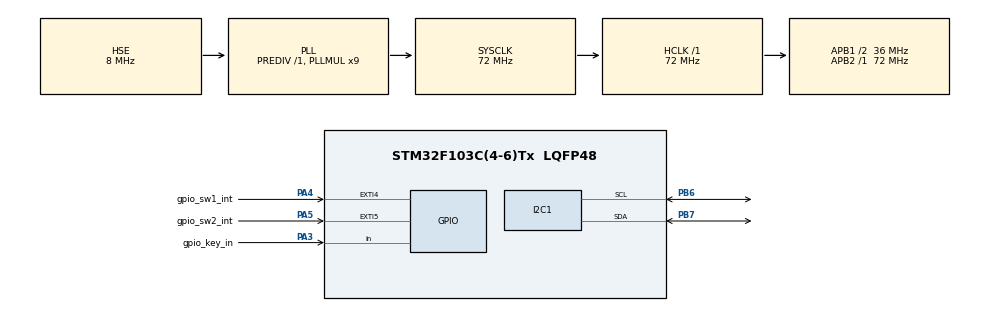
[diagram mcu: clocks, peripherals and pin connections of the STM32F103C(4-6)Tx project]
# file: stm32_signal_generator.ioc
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Mcu.Family=STM32F1
Mcu.Name=STM32F103C(4-6)Tx
Mcu.Package=LQFP48
NVIC.EXTI4_IRQn=true\:0\:0\:false\:false\:true\:true\:true\:true
NVIC.EXTI9_5_IRQn=true\:0\:0\:false\:false\:true\:true\:true\:true
NVIC.PriorityGroup=NVIC_PRIORITYGROUP_4
NVIC.TIM3_IRQn=true\:15\:0\:false\:false\:true\:false\:true\:true
NVIC.TimeBase=TIM3_IRQn
NVIC.TimeBaseIP=TIM3
PA13.Mode=Serial_Wire
PA13.Signal=SYS_JTMS-SWDIO
PA14.Mode=Serial_Wire
PA14.Signal=SYS_JTCK-SWCLK
PA3.GPIO_Label=gpio_key_in
PA3.Signal=GPIO_Input
PA4.GPIO_Label=gpio_sw1_int
PA4.GPIO_ModeDefaultEXTI=GPIO_MODE_IT_RISING_FALLING
PA4.Signal=GPXTI4
PA5.GPIO_Label=gpio_sw2_int
PA5.GPIO_ModeDefaultEXTI=GPIO_MODE_IT_RISING_FALLING
PA5.Signal=GPXTI5
PB6.Mode=I2C
PB6.Signal=I2C1_SCL
PB7.Mode=I2C
PB7.Signal=I2C1_SDA
PC14-OSC32_IN.Mode=LSE-External-Oscillator
PC14-OSC32_IN.Signal=RCC_OSC32_IN
PC15-OSC32_OUT.Mode=LSE-External-Oscillator
PC15-OSC32_OUT.Signal=RCC_OSC32_OUT
PD0-OSC_IN.Mode=HSE-External-Oscillator
PD0-OSC_IN.Signal=RCC_OSC_IN
PD1-OSC_OUT.Mode=HSE-External-Oscillator
PD1-OSC_OUT.Signal=RCC_OSC_OUT
ProjectManager.HeapSize=0x200
ProjectManager.StackSize=0x400
ProjectManager.TargetToolchain=STM32CubeIDE
RCC.AHBFreq_Value=72000000
RCC.APB1CLKDivider=RCC_HCLK_DIV2
RCC.APB1Freq_Value=36000000
RCC.APB1TimFreq_Value=72000000
RCC.APB2Freq_Value=72000000
RCC.APB2TimFreq_Value=72000000
RCC.HCLKFreq_Value=72000000
RCC.PLLMUL=RCC_PLL_MUL9
RCC.PLLSourceVirtual=RCC_PLLSOURCE_HSE
RCC.SYSCLKFreq_VALUE=72000000
RCC.SYSCLKSource=RCC_SYSCLKSOURCE_PLLCLK
RCC.USBFreq_Value=72000000
VP_SYS_VS_tim3.Mode=TIM3
board=custom

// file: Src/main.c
/* USER CODE BEGIN Header */
/**
  ******************************************************************************
  * @file           : main.c
  * @brief          : Main program body
  ******************************************************************************
  * @attention
  *
  * Copyright (c) 2024 STMicroelectronics.
  * All rights reserved.
  *
  * This software is licensed under terms that can be found in the LICENSE file
  * in the root directory of this software component.
  * If no LICENSE file comes with this software, it is provided AS-IS.
  *
  ******************************************************************************
  */
/* USER CODE END Header */
#include "main.h"

/* USER CODE BEGIN Includes */
#include "ssd1306.h"
#include "si5351.h"
#include "ssd1306_fonts.h"

#include "generator.h"
/* USER CODE END Includes */

I2C_HandleTypeDef hi2c1;

/* USER CODE BEGIN PV */

volatile int32_t enc_val;

/* USER CODE END PV */

void SystemClock_Config(void);
static void MX_GPIO_Init(void);
static void MX_I2C1_Init(void);

int main(void)
{

  /* MCU Configuration--------------------------------------------------------*/

  /* Reset of all peripherals, Initializes the Flash interface and the Systick. */
  HAL_Init();

  /* Configure the system clock */
  SystemClock_Config();

  /* Initialize all configured peripherals */
  MX_GPIO_Init();
  MX_I2C1_Init();
  /* USER CODE BEGIN 2 */
  ssd1306_Init();
  si5351_Init();
  /* USER CODE END 2 */

  /* Infinite loop */
  /* USER CODE BEGIN WHILE */
  display_help();
  HAL_Delay(1500);
  settings_t settings = {0};
  flash_read_data(&settings, sizeof(settings));

  fix_ch_data(settings.channels);
  if(settings.corection < 10000 && settings.corection > -10000){
	  si5351_set_correction(settings.corection);
  }
  HAL_Delay(1500);
  int cur_ch = 0, cursor = 0;
  int enc_data = 0, but_state;
  bool commit_changes, corection_mode = false;
  uint8_t ch_set = 0, out_val = 0;
  int accelerator = 0;
  int save_delay, reset_acelerator_delay;
  while (1)
  {

	  but_state = get_but_state();

	  enc_data = enc_val / 4;

	  commit_changes = enc_data || but_state != BUT_STATE_RELEASE;

	  if(enc_data){
		  if(cursor != CURSOR_CHANGING_POWER){
			  if(accelerator)enc_data *= accelerator;
			  accelerator += 2;
		  }

		  if(corection_mode){
			  set_correction_val(&settings, cursor, enc_data);
		  } else {
			  set_ch_val(&settings.channels[cur_ch], cursor, enc_data);
		  }

		  if(out_val){
			  if(settings.channels[cur_ch].driveStrength == SI5351_DRIVE_STRENGTH_OFF){
				  ch_set &= ~(1<<cur_ch);
			  } else {
				  si5351_SetupCLK(cur_ch, settings.channels[cur_ch].freq, settings.channels[cur_ch].driveStrength, settings.phase);
				  ch_set |= (1<<cur_ch);
			  }
		  }
	  }

	  if(but_state == BUT_STATE_LONG_PRESSED){
		  if(out_val == 0){
			  for(int i=0; i<CH_NUM; ++i){
				  if(settings.channels[i].driveStrength != SI5351_DRIVE_STRENGTH_OFF
						  	  && settings.channels[i].freq <= MAX_FREQ
							  && settings.channels[i].freq >= MIN_FREQ){
					  ch_set |= (1<<i);
					  si5351_SetupCLK(i, settings.channels[i].freq, settings.channels[i].driveStrength, settings.phase);
				  }
			  }
		  } else {
			  ch_set = 0;
		  }
	  } else if(but_state == BUT_STATE_PRESSED){
		  if(corection_mode){
			  cursor = !cursor;
		  }else{
		  	  cursor = (cursor + 1) % CURSOR_CHANGING_MAX;
		  }
	  } else if(but_state == BUT_DOUBLE_PRESSED){
		  if(corection_mode){
			  cursor = !cursor;
		  }else{
			  cur_ch = (cur_ch+1) % CH_NUM;
		  }
	  }else if(but_state == BUT_FOUR_PRESSED){
		  corection_mode = !corection_mode;
		  cursor = 0;
	  }

	  if(out_val != ch_set){
		  out_val = ch_set;
		  si5351_EnableOutputs(out_val);
	  }
	  if(corection_mode){
		  display_correction_data(settings.corection, settings.phase, cursor, ch_set);
	  }else{
	  	  display_ch_data(settings.channels, cur_ch, cursor, ch_set);
	  }

	  enc_val = 0;
	  HAL_Delay(100);
	  while(HAL_GPIO_ReadPin(gpio_key_in_GPIO_Port, gpio_key_in_Pin) == GPIO_PIN_RESET)HAL_Delay(10);
	  save_delay = 10000;
	  reset_acelerator_delay = 150;
	  while(HAL_GPIO_ReadPin(gpio_key_in_GPIO_Port, gpio_key_in_Pin) != GPIO_PIN_RESET && enc_val/4 == 0){
		  if(commit_changes){
			  if(save_delay){
				  save_delay -= 10;
			  } else {
				  commit_changes = false;
				  flash_write_data(&settings, sizeof(settings));
			  }
		  }
		  if(accelerator){
			  if(reset_acelerator_delay){
				  reset_acelerator_delay -= 10;
			  } else {
			  	  accelerator = 0;
			  }
		 }
		 HAL_Delay(10);
	  }

    /* USER CODE END WHILE */

  }
}

void SystemClock_Config(void)
{
  RCC_OscInitTypeDef RCC_OscInitStruct = {0};
  RCC_ClkInitTypeDef RCC_ClkInitStruct = {0};

  /** Initializes the RCC Oscillators according to the specified parameters
  * in the RCC_OscInitTypeDef structure.
  */
  RCC_OscInitStruct.OscillatorType = RCC_OSCILLATORTYPE_HSE;
  RCC_OscInitStruct.HSEState = RCC_HSE_ON;
  RCC_OscInitStruct.HSEPredivValue = RCC_HSE_PREDIV_DIV1;
  RCC_OscInitStruct.HSIState = RCC_HSI_ON;
  RCC_OscInitStruct.PLL.PLLState = RCC_PLL_ON;
  RCC_OscInitStruct.PLL.PLLSource = RCC_PLLSOURCE_HSE;
  RCC_OscInitStruct.PLL.PLLMUL = RCC_PLL_MUL9;
  if (HAL_RCC_OscConfig(&RCC_OscInitStruct) != HAL_OK)
  {
    Error_Handler();
  }

  /** Initializes the CPU, AHB and APB buses clocks
  */
  RCC_ClkInitStruct.ClockType = RCC_CLOCKTYPE_HCLK|RCC_CLOCKTYPE_SYSCLK
                              |RCC_CLOCKTYPE_PCLK1|RCC_CLOCKTYPE_PCLK2;
  RCC_ClkInitStruct.SYSCLKSource = RCC_SYSCLKSOURCE_PLLCLK;
  RCC_ClkInitStruct.AHBCLKDivider = RCC_SYSCLK_DIV1;
  RCC_ClkInitStruct.APB1CLKDivider = RCC_HCLK_DIV2;
  RCC_ClkInitStruct.APB2CLKDivider = RCC_HCLK_DIV1;

  if (HAL_RCC_ClockConfig(&RCC_ClkInitStruct, FLASH_LATENCY_2) != HAL_OK)
  {
    Error_Handler();
  }
}

static void MX_I2C1_Init(void)
{

  hi2c1.Instance = I2C1;
  hi2c1.Init.ClockSpeed = 100000;
  hi2c1.Init.DutyCycle = I2C_DUTYCYCLE_2;
  hi2c1.Init.OwnAddress1 = 0;
  hi2c1.Init.AddressingMode = I2C_ADDRESSINGMODE_7BIT;
  hi2c1.Init.DualAddressMode = I2C_DUALADDRESS_DISABLE;
  hi2c1.Init.OwnAddress2 = 0;
  hi2c1.Init.GeneralCallMode = I2C_GENERALCALL_DISABLE;
  hi2c1.Init.NoStretchMode = I2C_NOSTRETCH_DISABLE;
  if (HAL_I2C_Init(&hi2c1) != HAL_OK)
  {
    Error_Handler();
  }

}

static void MX_GPIO_Init(void)
{
  GPIO_InitTypeDef GPIO_InitStruct = {0};

  /* GPIO Ports Clock Enable */
  __HAL_RCC_GPIOC_CLK_ENABLE();
  __HAL_RCC_GPIOD_CLK_ENABLE();
  __HAL_RCC_GPIOA_CLK_ENABLE();
  __HAL_RCC_GPIOB_CLK_ENABLE();

  /*Configure GPIO pin : gpio_key_in_Pin */
  GPIO_InitStruct.Pin = gpio_key_in_Pin;
  GPIO_InitStruct.Mode = GPIO_MODE_INPUT;
  GPIO_InitStruct.Pull = GPIO_NOPULL;
  HAL_GPIO_Init(gpio_key_in_GPIO_Port, &GPIO_InitStruct);

  /*Configure GPIO pins : gpio_sw1_int_Pin gpio_sw2_int_Pin */
  GPIO_InitStruct.Pin = gpio_sw1_int_Pin|gpio_sw2_int_Pin;
  GPIO_InitStruct.Mode = GPIO_MODE_IT_RISING_FALLING;
  GPIO_InitStruct.Pull = GPIO_NOPULL;
  HAL_GPIO_Init(GPIOA, &GPIO_InitStruct);

  /* EXTI interrupt init*/
  HAL_NVIC_SetPriority(EXTI4_IRQn, 0, 0);
  HAL_NVIC_EnableIRQ(EXTI4_IRQn);

  HAL_NVIC_SetPriority(EXTI9_5_IRQn, 0, 0);
  HAL_NVIC_EnableIRQ(EXTI9_5_IRQn);

}

/* USER CODE BEGIN 4 */
void HAL_GPIO_EXTI_Callback(uint16_t GPIO_Pin)
{
	static int sw1_last_pin, sw2_last_pin;
    if (GPIO_Pin == gpio_sw2_int_Pin || GPIO_Pin == gpio_sw1_int_Pin)
    {
        uint8_t sw1 = HAL_GPIO_ReadPin(GPIOA, gpio_sw1_int_Pin);
        uint8_t sw2 = HAL_GPIO_ReadPin(GPIOA, gpio_sw2_int_Pin);
        if(sw1 != sw1_last_pin || sw2 != sw2_last_pin){
			if (sw1 == sw2_last_pin) {
				enc_val += 1;
			} else {
				enc_val -= 1;
			}
		}
		sw1_last_pin = sw1;
		sw2_last_pin = sw2;
    }
}

/* USER CODE END 4 */

void HAL_TIM_PeriodElapsedCallback(TIM_HandleTypeDef *htim)
{
  if (htim->Instance == TIM3) {
    HAL_IncTick();
  }
}

void Error_Handler(void)
{
  __disable_irq();
  while (1)
  {
  }
}
